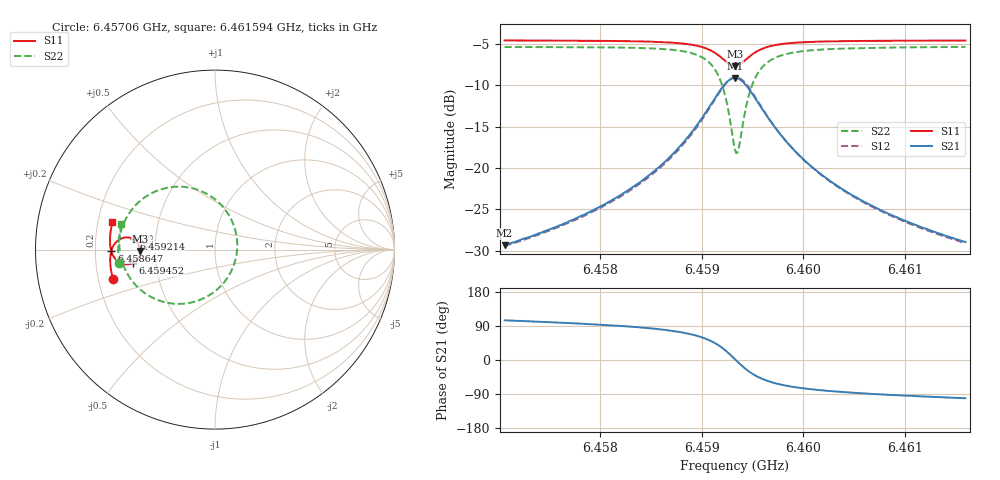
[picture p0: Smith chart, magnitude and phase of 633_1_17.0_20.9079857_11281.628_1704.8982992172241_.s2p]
#  HZ  S  RI  R  50.00
! Rohde & Schwarz Vector Network Analyzer
! Rohde-Schwarz,ZNB20-2Port,1311601062101988,3.16
! Created: UTC 3/20/2024, 11:20:25 PM
! freq[Hz]  re:S11  im:S11  re:S21  im:S21  re:S12  im:S12  re:S22  im:S22
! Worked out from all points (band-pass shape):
!   401 points, 6.45706 GHz to 6.461594 GHz, reference 50 ohm
!   highest |S21| = -9.08 dB at 6.459327 GHz (marker M1); lowest = -29.3 dB at 6.45706 GHz (marker M2)
!   |S21| within 3 dB of the highest: 6.459101 GHz to 6.459554 GHz (453 kHz wide, 0.00701 % of centre)
!   lowest |S11| = -7.6 dB at 6.459327 GHz (marker M3), VSWR 2.42, Z = 20.7 - j0.363 ohm
!   |S11| at or under -10 dB: nowhere
!   |S22| runs from -18.2 to -5.3 dB; largest |S21 - S12| = 0.014
!   S11 on the Smith chart (normalised r, x): 6.45706 GHz: 0.26, -0.13; 6.458647 GHz: 0.27, -0.00; 6.459214 GHz: 0.38, +0.05; 6.459452 GHz: 0.37, -0.07; 6.461594 GHz: 0.26, +0.12
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6.4570604e9  -0.5685 -0.1658  -0.00864 0.0331  -0.00685 0.033  -0.5349 -0.0768
6.4578198e9  -0.5817 -0.099  -0.00523 0.0514  -0.00263 0.0506  -0.5388 0.0131
6.4582278e9  -0.5842 -0.0578  0.000787 0.0705  0.00402 0.0688  -0.5302 0.0785
6.4585791e9  -0.5797 -0.0157  0.0155 0.1001  0.0194 0.0973  -0.5031 0.1585
6.4586471e9  -0.5774 -0.00611  0.0209 0.1086  0.025 0.1053  -0.4926 0.1787
6.4588398e9  -0.5645 0.0243  0.0481 0.1398  0.0521 0.1347  -0.4416 0.2482
6.4589871e9  -0.5414 0.0505  0.0942 0.1705  0.0973 0.1637  -0.3562 0.3127
6.4591231e9  -0.4968 0.0677  0.1827 0.1867  0.1834 0.1793  -0.1941 0.3506
6.4592138e9  -0.4517 0.0571  0.2739 0.1544  0.2739 0.1487  -0.0251 0.2983
6.4592818e9  -0.4222 0.0244  0.335 0.0811  0.3373 0.0759  0.0918 0.1656
6.4593271e9  -0.4153 -0.00727  0.3513 0.0121  0.3552 0.00503  0.1239 0.0358
6.4593611e9  -0.4193 -0.0313  0.3451 -0.0414  0.3493 -0.0507  0.1116 -0.0656
6.4594065e9  -0.4353 -0.058  0.3157 -0.1023  0.3182 -0.1144  0.0519 -0.181
6.4594518e9  -0.4578 -0.0745  0.2726 -0.1436  0.2718 -0.1573  -0.0356 -0.2567
6.4595425e9  -0.5019 -0.0815  0.1861 -0.1748  0.1797 -0.1866  -0.2085 -0.3026
6.4596105e9  -0.5265 -0.074  0.1369 -0.1724  0.1287 -0.1815  -0.3037 -0.2863
6.4596898e9  -0.5464 -0.0607  0.0966 -0.16  0.0879 -0.1664  -0.3791 -0.2507
6.4598598e9  -0.569 -0.031  0.0491 -0.1293  0.0414 -0.132  -0.4639 -0.1719
6.4600865e9  -0.5809 0.00268  0.022 -0.099  0.016 -0.0995  -0.5083 -0.0926
6.4604378e9  -0.5854 0.0447  0.00566 -0.0709  0.00148 -0.0703  -0.5298 -0.0106
6.4608458e9  -0.5834 0.086  -0.00188 -0.0526  -0.00466 -0.0517  -0.5334 0.0557
6.4615939e9  -0.5712 0.1525  -0.00681 -0.0351  -0.00848 -0.0341  -0.5216 0.1451
